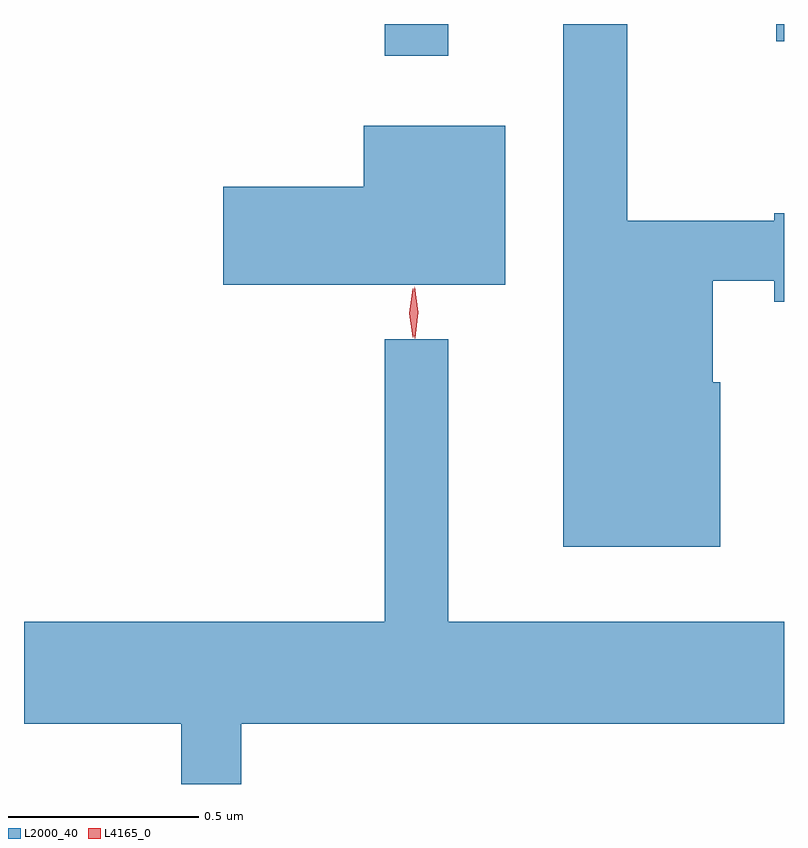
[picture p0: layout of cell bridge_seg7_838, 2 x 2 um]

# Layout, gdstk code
import gdstk
lib = gdstk.Library(unit=1e-6, precision=1e-09)
def R(c, l, rs):  # rectangles x0, y0, x1, y1
    for r in rs: c.add(gdstk.rectangle(r[:2], r[2:], *l))
def P(c, l, *ps):  # polygons
    for p in ps: c.add(gdstk.Polygon(p, *l))
L2000_40 = (2000, 40)
L4165_0 = (4165, 0)

bridge_seg7_838 = lib.new_cell('bridge_seg7_838')
R(bridge_seg7_838, L2000_40, [(326.351,1751.593,326.519,1751.677), (327.381,1751.631,327.402,1751.677)])
P(bridge_seg7_838, L2000_40, [(327.234,1750.734),(327.214,1750.734),(327.214,1751.001),(327.376,1751.001),(327.376,1750.946),(327.402,1750.946),(327.402,1751.179),(327.376,1751.179),(327.376,1751.159),(326.989,1751.159),(326.989,1751.677),(326.821,1751.677),(326.821,1750.301),(327.234,1750.301)],
  [(326.669,1751.409),(326.296,1751.409),(326.296,1751.249),(325.926,1751.249),(325.926,1750.991),(326.669,1750.991)],
  [(325.974,1749.836),(327.402,1749.836),(327.402,1750.104),(326.519,1750.104),(326.519,1750.848),(326.351,1750.848),(326.351,1750.104),(325.402,1750.104),(325.402,1749.836),(325.816,1749.836),(325.816,1749.677),(325.974,1749.677)])
P(bridge_seg7_838, L4165_0, [(326.43,1750.85),(326.42,1750.918),(326.43,1750.985),(326.43,1750.986),(326.43,1750.985),(326.44,1750.918),(326.432,1750.85),(326.431,1750.85)],
  [(326.425,1750.853),(326.416,1750.916),(326.425,1750.98),(326.425,1750.98),(326.426,1750.98),(326.435,1750.916),(326.426,1750.853),(326.426,1750.853)])

lib.write_gds('bridge_seg7_838.gds')
